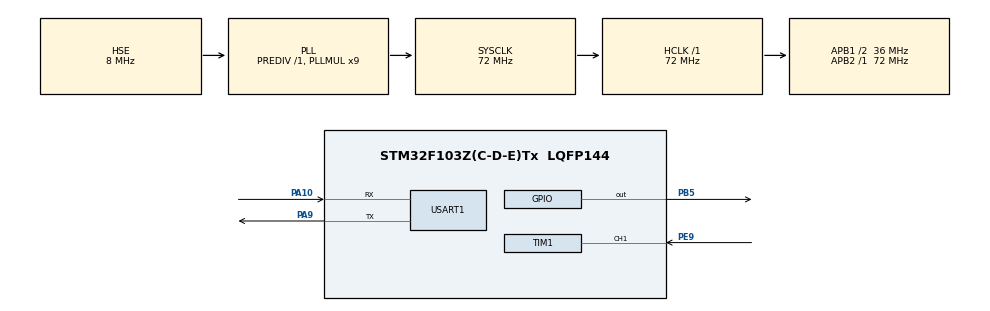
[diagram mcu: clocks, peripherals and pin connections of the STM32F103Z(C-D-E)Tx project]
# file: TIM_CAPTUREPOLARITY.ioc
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Mcu.Family=STM32F1
Mcu.Name=STM32F103Z(C-D-E)Tx
Mcu.Package=LQFP144
NVIC.PriorityGroup=NVIC_PRIORITYGROUP_4
NVIC.TIM1_CC_IRQn=true\:0\:0\:false\:false\:true\:true\:true\:true
NVIC.USART1_IRQn=true\:0\:0\:false\:false\:true\:true\:true\:true
OSC_IN.Mode=HSE-External-Oscillator
OSC_IN.Signal=RCC_OSC_IN
OSC_OUT.Mode=HSE-External-Oscillator
OSC_OUT.Signal=RCC_OSC_OUT
PA10.Mode=Asynchronous
PA10.Signal=USART1_RX
PA9.Mode=Asynchronous
PA9.Signal=USART1_TX
PB5.GPIO_ModeDefaultOutputPP=GPIO_MODE_OUTPUT_PP
PB5.GPIO_PuPd=GPIO_NOPULL
PB5.PinState=GPIO_PIN_SET
PB5.Signal=GPIO_Output
PE9.GPIO_PuPd=GPIO_PULLUP
PE9.Signal=S_TIM1_CH1
ProjectManager.HeapSize=0x200
ProjectManager.StackSize=0x400
ProjectManager.TargetToolchain=MDK-ARM V5.32
RCC.AHBFreq_Value=72000000
RCC.APB1CLKDivider=RCC_HCLK_DIV2
RCC.APB1Freq_Value=36000000
RCC.APB1TimFreq_Value=72000000
RCC.APB2Freq_Value=72000000
RCC.APB2TimFreq_Value=72000000
RCC.HCLKFreq_Value=72000000
RCC.PLLMUL=RCC_PLL_MUL9
RCC.PLLSourceVirtual=RCC_PLLSOURCE_HSE
RCC.SYSCLKFreq_VALUE=72000000
RCC.SYSCLKSource=RCC_SYSCLKSOURCE_PLLCLK
RCC.USBFreq_Value=72000000
SH.S_TIM1_CH1.0=TIM1_CH1,Input_Capture1_from_TI1
TIM1.AutoReloadPreload=TIM_AUTORELOAD_PRELOAD_ENABLE
TIM1.Channel-Input_Capture1_from_TI1=TIM_CHANNEL_1
TIM1.ICFilter_CH1=8
TIM1.Prescaler=71
USART1.VirtualMode=VM_ASYNC
VP_SYS_VS_ND.Mode=No_Debug
board=custom

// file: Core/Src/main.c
/* USER CODE BEGIN Header */
/**
  ******************************************************************************
  * @file           : main.c
  * @brief          : Main program body
  ******************************************************************************
  * @attention
  *
  * Copyright (c) 2024 STMicroelectronics.
  * All rights reserved.
  *
  * This software is licensed under terms that can be found in the LICENSE file
  * in the root directory of this software component.
  * If no LICENSE file comes with this software, it is provided AS-IS.
  *
  ******************************************************************************
  */
/* USER CODE END Header */
#include "main.h"
#include "tim.h"
#include "usart.h"
#include "gpio.h"

void SystemClock_Config(void);

/* USER CODE BEGIN 0 */
	uint32_t capture_Buf[3] = {0};
	uint8_t capture_Cut = 0;
	uint32_t high_time;
/* USER CODE END 0 */

int main(void)
{

  /* MCU Configuration--------------------------------------------------------*/

  /* Reset of all peripherals, Initializes the Flash interface and the Systick. */
  HAL_Init();

  /* Configure the system clock */
  SystemClock_Config();

  /* Initialize all configured peripherals */
  MX_GPIO_Init();
  MX_USART1_UART_Init();
  MX_TIM1_Init();

  /* Infinite loop */
  /* USER CODE BEGIN WHILE */
  while (1)
  {
		HAL_GPIO_TogglePin(GPIOB,GPIO_PIN_5);
		switch(capture_Cut)
		{
			case 0:
				HAL_UART_Transmit(&huart1,(uint8_t *)"1",1,0xffff);
				capture_Cut++;
				__HAL_TIM_SET_CAPTUREPOLARITY(&htim1, TIM_CHANNEL_1, TIM_INPUTCHANNELPOLARITY_RISING);
				HAL_TIM_IC_Start_IT(&htim1,TIM_CHANNEL_1);

				break;
			case 3:
				high_time = capture_Buf[1] + capture_Buf[0];
				HAL_UART_Transmit(&huart1,(uint8_t *)"4",1,0xffff);
				HAL_UART_Transmit(&huart1,(uint8_t *)high_time,1,0xffff);

				HAL_Delay(1000);

				capture_Cut = 0;
				break;

		}

    /* USER CODE END WHILE */

  }
}

void SystemClock_Config(void)
{
  RCC_OscInitTypeDef RCC_OscInitStruct = {0};
  RCC_ClkInitTypeDef RCC_ClkInitStruct = {0};

  /** Initializes the RCC Oscillators according to the specified parameters
  * in the RCC_OscInitTypeDef structure.
  */
  RCC_OscInitStruct.OscillatorType = RCC_OSCILLATORTYPE_HSE;
  RCC_OscInitStruct.HSEState = RCC_HSE_ON;
  RCC_OscInitStruct.HSEPredivValue = RCC_HSE_PREDIV_DIV1;
  RCC_OscInitStruct.HSIState = RCC_HSI_ON;
  RCC_OscInitStruct.PLL.PLLState = RCC_PLL_ON;
  RCC_OscInitStruct.PLL.PLLSource = RCC_PLLSOURCE_HSE;
  RCC_OscInitStruct.PLL.PLLMUL = RCC_PLL_MUL9;
  if (HAL_RCC_OscConfig(&RCC_OscInitStruct) != HAL_OK)
  {
    Error_Handler();
  }

  /** Initializes the CPU, AHB and APB buses clocks
  */
  RCC_ClkInitStruct.ClockType = RCC_CLOCKTYPE_HCLK|RCC_CLOCKTYPE_SYSCLK
                              |RCC_CLOCKTYPE_PCLK1|RCC_CLOCKTYPE_PCLK2;
  RCC_ClkInitStruct.SYSCLKSource = RCC_SYSCLKSOURCE_PLLCLK;
  RCC_ClkInitStruct.AHBCLKDivider = RCC_SYSCLK_DIV1;
  RCC_ClkInitStruct.APB1CLKDivider = RCC_HCLK_DIV2;
  RCC_ClkInitStruct.APB2CLKDivider = RCC_HCLK_DIV1;

  if (HAL_RCC_ClockConfig(&RCC_ClkInitStruct, FLASH_LATENCY_2) != HAL_OK)
  {
    Error_Handler();
  }
}

/* USER CODE BEGIN 4 */

void HAL_TIM_IC_CaptureCallback(TIM_HandleTypeDef *htim)
{

	if(TIM1 == htim->Instance)
	{
		switch(capture_Cut){
			case 1:
				HAL_UART_Transmit(&huart1,(uint8_t *)"2",1,0xffff);
				capture_Buf[0] = HAL_TIM_ReadCapturedValue(&htim1,TIM_CHANNEL_1);//????????.
				__HAL_TIM_SET_CAPTUREPOLARITY(&htim1,TIM_CHANNEL_1,TIM_ICPOLARITY_FALLING);  //????????
				capture_Cut++;
				break;
			case 2:
				capture_Buf[1] = HAL_TIM_ReadCapturedValue(&htim1,TIM_CHANNEL_1);//????????.
				HAL_TIM_IC_Stop_IT(&htim1,TIM_CHANNEL_1); //????   ??: __HAL_TIM_DISABLE(&htim5);
				capture_Cut++;
				HAL_UART_Transmit(&huart1,(uint8_t *)"3",1,0xffff);
		}

	}

}

/* USER CODE END 4 */

void Error_Handler(void)
{
  __disable_irq();
  while (1)
  {
  }
}
